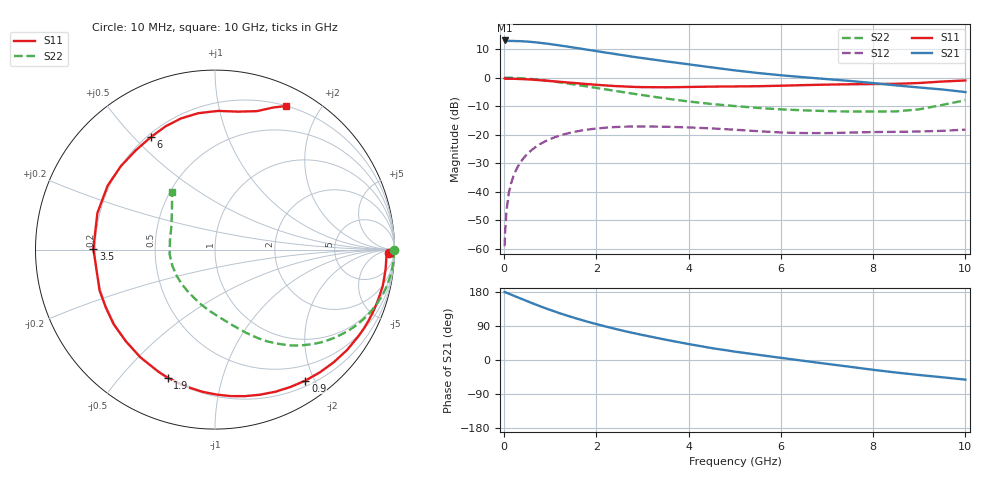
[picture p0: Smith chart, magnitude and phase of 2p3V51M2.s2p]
! (c) 2009  Infineon Technologies AG, Munich
! Infineon Technologies  Discrete & RF Semiconductors
! BFP420
! VCE =  3.5 V,  IC =  1.2 mA
! Common Emitter S-Parameters:  Nov 2009
# GHz  S  MA  R  50
!  f  S11  S21  S12  S22
! GHz  MAG  ANG  MAG  ANG  MAG  ANG  MAG  ANG
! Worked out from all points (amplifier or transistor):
!   46 points, 10 MHz to 10 GHz, reference 50 ohm
!   highest |S21| = 13.1 dB at 10 MHz (marker M1)
!   |S21| within 3 dB of that: start of sweep to 1.712 GHz
!   unconditionally stable (mu >= 1): 4.283 GHz to end of sweep
!   at 300 MHz: K = 0.03, MSG = 22.0 dB, |S12| = -31.2 dB
!   at 1.7 GHz: K = 0.28, MSG = 14.3 dB, |S12| = -18.5 dB
!   at 10 GHz: K = 1.31, MAG = 3.2 dB, |S12| = -18.2 dB
!   lowest NFmin = 0.53 dB at 900 MHz
!   S11 on the Smith chart (normalised r, x): 10 MHz: 44, -28; 900 MHz: 0.27, -1.87; 1.9 GHz: 0.20, -0.68; 3.5 GHz: 0.19, +0.00; 6 GHz: 0.21, +0.56; 10 GHz: 0.20, +1.59
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0.01  0.9681 -1.2  4.5 179.2  0.0011 94.5  0.9966 0.0
0.02  0.9569 -1.2  4.358 179.3  0.0019 80.8  0.9965 -0.6
0.05  0.9557 -3.0  4.389 177.5  0.0045 86.4  0.9967 -1.6
0.1  0.9568 -6.3  4.414 175.1  0.0094 85.6  0.9962 -3.3
0.2  0.9562 -12.3  4.41 170.1  0.0185 82.5  0.9915 -6.7
0.4  0.9429 -24.9  4.348 160.2  0.0367 75.2  0.9741 -13.2
0.6  0.9242 -37.3  4.232 150.3  0.054 68.0  0.9464 -19.6
0.9  0.8867 -55.4  3.977 136.4  0.0769 57.5  0.8911 -28.4
1.2  0.8461 -72.9  3.683 123.6  0.096 47.9  0.8274 -36.4
1.4  0.8202 -84.2  3.484 115.8  0.1064 41.9  0.7845 -41.2
1.7  0.7828 -100.1  3.198 104.8  0.1189 33.7  0.7207 -47.7
1.9  0.7609 -110.3  3.014 98.0  0.1252 28.6  0.68 -51.7
2.2  0.7301 -124.7  2.761 88.4  0.1323 21.7  0.6233 -57.0
2.6  0.7013 -143.6  2.463 76.6  0.1378 13.1  0.5536 -63.6
3  0.6821 -160.5  2.205 66.0  0.1392 5.7  0.4941 -69.6
3.5  0.6778 179.6  1.938 53.6  0.1375 -2.0  0.4307 -77.2
4.5  0.6963 149.2  1.515 31.4  0.1284 -13.3  0.3447 -94.5
5.5  0.7076 128.7  1.208 13.8  0.1149 -19.2  0.2943 -112.9
6  0.7217 119.7  1.102 5.7  0.1091 -19.7  0.2775 -123.3
7  0.755 104.5  0.943 -10.2  0.1063 -18.5  0.2585 -145.7
8.5  0.7796 80.4  0.731 -33.1  0.1119 -20.1  0.2557 169.2
10  0.8938 63.6  0.559 -51.8  0.1224 -20.4  0.4022 126.5
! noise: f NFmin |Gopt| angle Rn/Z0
0.9  0.53  0.62  33  0.31
1.8  1.1  0.4  77  0.24
2.4  1.23  0.41  100  0.2
3  1.51  0.41  132  0.14
4  1.8  0.44  -175  0.09
5  2.23  0.45  -132  0.38
6  3.18  0.57  -116  0.44
